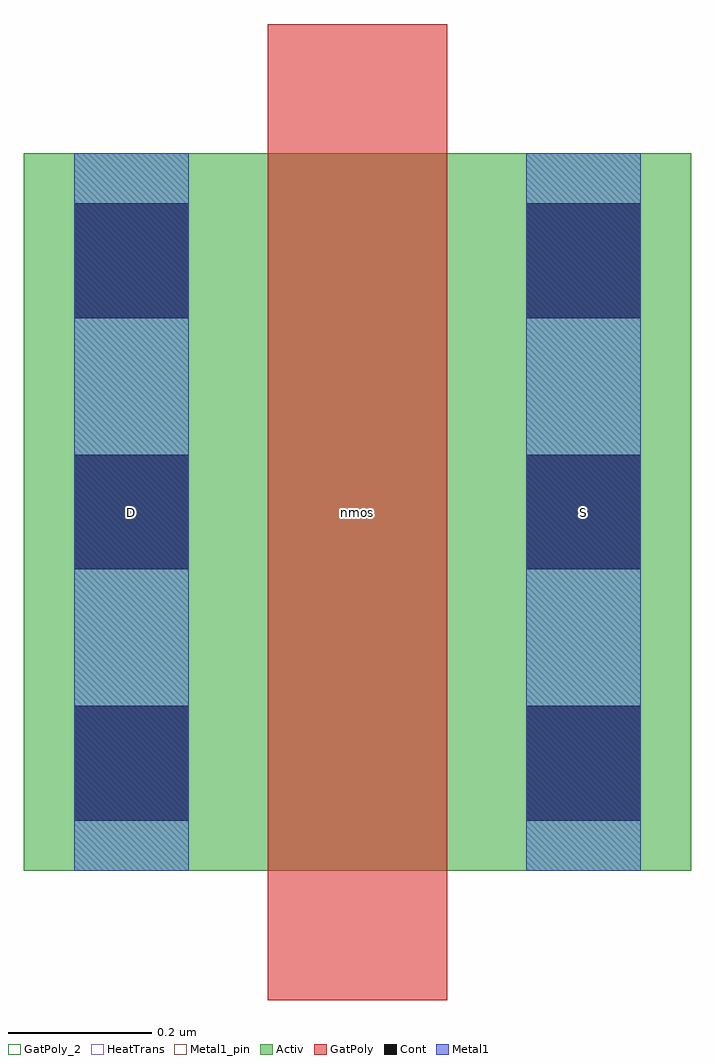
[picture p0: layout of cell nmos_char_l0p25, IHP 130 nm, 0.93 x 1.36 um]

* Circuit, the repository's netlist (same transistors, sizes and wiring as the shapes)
* nmos_char_l0p25 — generated from DeviceSpec; do not edit by hand
.SUBCKT nmos_char_l0p25 D G S
M1 D G S sub sg13_lv_nmos w=1u l=0.25u ng=1 m=1
.ENDS nmos_char_l0p25

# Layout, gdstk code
import gdstk
lib = gdstk.Library(unit=1e-6, precision=1e-09)
def R(c, l, rs):  # rectangles x0, y0, x1, y1
    for r in rs: c.add(gdstk.rectangle(r[:2], r[2:], *l))
def A(c, l, x, y, w, h, nx, ny, dx, dy):  # array of equal rectangles
    R(c, l, [(x+i*dx, y+j*dy, x+i*dx+w, y+j*dy+h) for i in range(nx) for j in range(ny)])
Activ = (1, 0)
GatPoly = (5, 0)
GatPoly_2 = (5, 2)
Cont = (6, 0)
Metal1 = (8, 0)
Metal1_pin = (8, 2)
HeatTrans = (51, 0)

nmos_char_l0p25 = lib.new_cell('nmos_char_l0p25')
R(nmos_char_l0p25, Activ, [(0,0,0.3,0.3), (0,0,0.93,1), (0.63,0,0.93,0.3)])
R(nmos_char_l0p25, GatPoly, [(0.34,-0.18,0.59,1.18)])
R(nmos_char_l0p25, GatPoly_2, [(0.34,-0.18,0.59,1.18)])
A(nmos_char_l0p25, Cont, 0.07, 0.07, 0.16, 0.16, 1, 3, 0, 0.35)
A(nmos_char_l0p25, Cont, 0.7, 0.07, 0.16, 0.16, 1, 3, 0, 0.35)
R(nmos_char_l0p25, Metal1, [(0.07,0,0.23,1), (0.7,0,0.86,1)])
R(nmos_char_l0p25, Metal1_pin, [(0.07,0,0.23,1), (0.7,0,0.86,1)])
R(nmos_char_l0p25, HeatTrans, [(0.34,-0.18,0.59,1.18)])
nmos_char_l0p25.add(gdstk.Label('nmos', (0.465,0.5), layer=63, texttype=0))
nmos_char_l0p25.add(gdstk.Label('nmos', (0.465,0.5), layer=51, texttype=0))
nmos_char_l0p25.add(gdstk.Label('D', (0.15,0.5), layer=8, texttype=25))
nmos_char_l0p25.add(gdstk.Label('S', (0.78,0.5), layer=8, texttype=25))

lib.write_gds('nmos_char_l0p25.gds')
